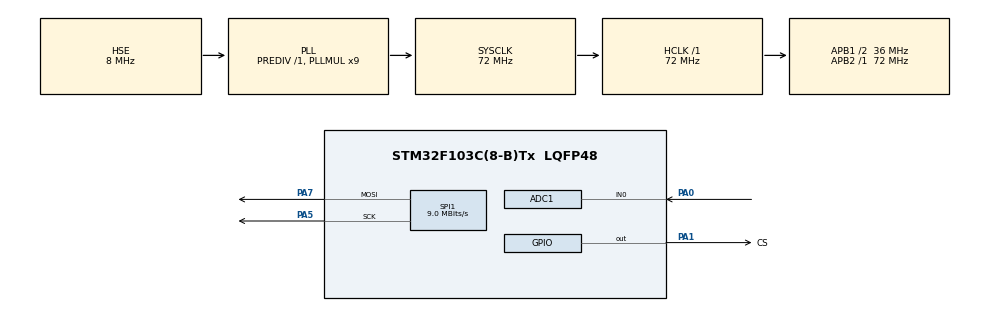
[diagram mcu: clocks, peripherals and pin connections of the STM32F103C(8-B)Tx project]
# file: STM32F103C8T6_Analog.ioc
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ADC1.Channel-1\#ChannelInjectedConversion=ADC_CHANNEL_0
ADC1.Channel-2\#ChannelInjectedConversion=ADC_CHANNEL_VREFINT
ADC1.EnableInjectedConversion=ENABLE
ADC1.EnableRegularConversion=DISABLE
ADC1.InjNumberOfConversion=2
ADC1.InjectedOffset-1\#ChannelInjectedConversion=0
ADC1.InjectedOffset-2\#ChannelInjectedConversion=0
ADC1.Rank-1\#ChannelInjectedConversion=1
ADC1.Rank-2\#ChannelInjectedConversion=2
ADC1.SamplingTime-1\#ChannelInjectedConversion=ADC_SAMPLETIME_239CYCLES_5
ADC1.SamplingTime-2\#ChannelInjectedConversion=ADC_SAMPLETIME_239CYCLES_5
ADC1.master=1
Mcu.Family=STM32F1
Mcu.Name=STM32F103C(8-B)Tx
Mcu.Package=LQFP48
NVIC.ADC1_2_IRQn=true\:0\:0\:false\:false\:true\:true\:true
NVIC.PriorityGroup=NVIC_PRIORITYGROUP_4
NVIC.SPI1_IRQn=true\:0\:0\:false\:false\:true\:true\:true
PA0-WKUP.Signal=ADCx_IN0
PA1.GPIO_Label=CS
PA1.Signal=GPIO_Output
PA13.Mode=Trace_Asynchronous_SW
PA13.Signal=SYS_JTMS-SWDIO
PA14.Mode=Trace_Asynchronous_SW
PA14.Signal=SYS_JTCK-SWCLK
PA5.Mode=TX_Only_Simplex_Unidirect_Master
PA5.Signal=SPI1_SCK
PA7.Mode=TX_Only_Simplex_Unidirect_Master
PA7.Signal=SPI1_MOSI
PB3.Mode=Trace_Asynchronous_SW
PB3.Signal=SYS_JTDO-TRACESWO
PD0-OSC_IN.Mode=HSE-External-Oscillator
PD0-OSC_IN.Signal=RCC_OSC_IN
PD1-OSC_OUT.Mode=HSE-External-Oscillator
PD1-OSC_OUT.Signal=RCC_OSC_OUT
ProjectManager.HeapSize=0x200
ProjectManager.StackSize=0x400
ProjectManager.TargetToolchain=STM32CubeIDE
RCC.ADCPresc=RCC_ADCPCLK2_DIV6
RCC.AHBFreq_Value=72000000
RCC.APB1CLKDivider=RCC_HCLK_DIV2
RCC.APB1Freq_Value=36000000
RCC.APB1TimFreq_Value=72000000
RCC.APB2Freq_Value=72000000
RCC.APB2TimFreq_Value=72000000
RCC.HCLKFreq_Value=72000000
RCC.PLLMUL=RCC_PLL_MUL9
RCC.PLLSourceVirtual=RCC_PLLSOURCE_HSE
RCC.SYSCLKFreq_VALUE=72000000
RCC.SYSCLKSource=RCC_SYSCLKSOURCE_PLLCLK
RCC.USBFreq_Value=72000000
SH.ADCx_IN0.0=ADC1_IN0,IN0
SPI1.BaudRatePrescaler=SPI_BAUDRATEPRESCALER_8
SPI1.CalculateBaudRate=9.0 MBits/s
SPI1.Direction=SPI_DIRECTION_2LINES
SPI1.Mode=SPI_MODE_MASTER
SPI1.VirtualType=VM_MASTER
VP_ADC1_Vref_Input.Mode=IN-Vrefint
board=custom

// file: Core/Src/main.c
/* USER CODE BEGIN Header */
/**
 ******************************************************************************
 * @file           : main.c
 * @brief          : Main program body
 ******************************************************************************
 * @attention
 *
 * <h2><center>&copy; Copyright (c) 2021 STMicroelectronics.
 * All rights reserved.</center></h2>
 *
 * This software component is licensed by ST under BSD 3-Clause license,
 * the "License"; You may not use this file except in compliance with the
 * License. You may obtain a copy of the License at:
 *                        opensource.org/licenses/BSD-3-Clause
 *
 ******************************************************************************
 */
/* USER CODE END Header */
#include "main.h"

/* USER CODE BEGIN Includes */

#include <stdbool.h>
#include <stdio.h>
#include "max7219_lib.h"

bool flag = 0;
uint8_t filtration_step = 0;
unsigned long T;

volatile uint32_t adcValue = 0; //Значения АЦП с ноги A0
volatile uint32_t adcValueVref = 0; //Значения АЦП с канала Vrefint
volatile bool get_value_flag = 0;

float volt = 0.0f; //Напряжение на АЦП без фильтрации
float voltage_filtre1 = 0.0f;
float filtered = 0.0f; //Напряжение на АЦП после фильтрации среднего
float filtered2 = 0.0f; //Напряжение на АЦП после фильтрации среднего

float filter[100] = { 0, };
float filter_2[10] = { 0, };
uint8_t index_buffer2 = 0;
uint8_t index_buffer = 0;

uint8_t step_filtration = 0;
float summ = 0.0f;
float summ2 = 0.0f;

/* USER CODE END Includes */

ADC_HandleTypeDef hadc1;

SPI_HandleTypeDef hspi1;

void SystemClock_Config(void);
static void MX_GPIO_Init(void);
static void MX_ADC1_Init(void);
static void MX_SPI1_Init(void);
/* USER CODE BEGIN PFP */

/*============SWO============*/
int _write(int file, uint8_t *ptr, int len) {

	for (int DataIdx = 0; DataIdx < len; DataIdx++) {
		ITM_SendChar(*ptr++);
	}
	return len;
}
/*============SWO============*/

void HAL_ADCEx_InjectedConvCpltCallback(ADC_HandleTypeDef *hadc) {

	adcValue = HAL_ADCEx_InjectedGetValue(&hadc1, ADC_INJECTED_RANK_1); // Значения АЦП с ноги A0
	adcValueVref = HAL_ADCEx_InjectedGetValue(&hadc1, ADC_INJECTED_RANK_2); // Значения АЦП с канала Vrefint

	get_value_flag = 1; // Флаг, сигнализирующий о поступлении данных с АЦП

}

/*================Медиана на 3 значения со своим буфером==============*/
float median(float newVal) {
	static float buf[3];
	static uint8_t count = 0;
	buf[count] = newVal;
	if (++count >= 3)
		count = 0;

	float a = buf[0];
	float b = buf[1];
	float c = buf[2];

	float middle;
	if ((a <= b) && (a <= c)) {
		middle = (b <= c) ? b : c;
	} else {
		if ((b <= a) && (b <= c)) {
			middle = (a <= c) ? a : c;
		} else {
			middle = (a <= b) ? a : b;
		}
	}
	return middle;
}
/*================Медиана на 3 значения со своим буфером==============*/

/* USER CODE END PFP */

int main(void)
{

  /* MCU Configuration--------------------------------------------------------*/

  /* Reset of all peripherals, Initializes the Flash interface and the Systick. */
  HAL_Init();

  /* Configure the system clock */
  SystemClock_Config();

  /* Initialize all configured peripherals */
  MX_GPIO_Init();
  MX_ADC1_Init();
  MX_SPI1_Init();
  /* USER CODE BEGIN 2 */
	HAL_Delay(100);
	max7219_Init();
	HAL_ADCEx_Calibration_Start(&hadc1);
	HAL_ADCEx_InjectedStart_IT(&hadc1);
  /* USER CODE END 2 */

  /* Infinite loop */
	while (1) {

    /* USER CODE BEGIN 3 */

		if (get_value_flag) {
			get_value_flag = 0;

			float mkVcc = 1.205f / adcValueVref; // напряжение питания МК где берется из даташита 1.2 опорное напряжение для данного МК
			volt = adcValue * mkVcc; //напряжение на входе АЦП в вольтах.
			HAL_ADCEx_InjectedStart_IT(&hadc1);

			/*================Фильтрация значений. Среднее арифметическое значение==============*/
			if (index_buffer >= 0 && filtration_step == 0) {
				filter[index_buffer] = volt;

				if (index_buffer == 99) {
					for (int i = 0; i <= 99; i++) {
						summ = summ + filter[i];
					}
					filtered = summ / 100;
					filtration_step = 1;
					summ = 0;
					index_buffer = 0;
				} else {
					index_buffer++;
				}
			}
			/*================Фильтрация значений. Среднее арифметическое значение==============*/

		}

		if (filtration_step == 1) {
			if (HAL_GetTick() - T >= 25) {
				T = HAL_GetTick();
		        /*================Фильтрация значений. Медиана на 3 значения + среднее арифметическое значение==============*/
				if (index_buffer2 >= 0) {
					filter_2[index_buffer2] = median(filtered);
					if (index_buffer2 == 9) {
						for (int i = 0; i <= 9; i++) {
							summ2 = summ2 + filter_2[i];
						}
						filtered2 = summ2 / 10;
						summ2 = 0;
						index_buffer2 = 0;
					} else {
						index_buffer2++;
					}
				}
				/*================Фильтрация значений. Медиана на 3 значения + среднее арифметическое значение==============*/

				printf("adc_filtre3 = %.3f\r\n", filtered2 - 0.002f);
				max7219_Send_float(filtered2 - 0.002f);
				filtration_step = 0;

			}

		}

	}
  /* USER CODE END 3 */
}

void SystemClock_Config(void)
{
  RCC_OscInitTypeDef RCC_OscInitStruct = {0};
  RCC_ClkInitTypeDef RCC_ClkInitStruct = {0};
  RCC_PeriphCLKInitTypeDef PeriphClkInit = {0};

  /** Initializes the RCC Oscillators according to the specified parameters
  * in the RCC_OscInitTypeDef structure.
  */
  RCC_OscInitStruct.OscillatorType = RCC_OSCILLATORTYPE_HSE;
  RCC_OscInitStruct.HSEState = RCC_HSE_ON;
  RCC_OscInitStruct.HSEPredivValue = RCC_HSE_PREDIV_DIV1;
  RCC_OscInitStruct.HSIState = RCC_HSI_ON;
  RCC_OscInitStruct.PLL.PLLState = RCC_PLL_ON;
  RCC_OscInitStruct.PLL.PLLSource = RCC_PLLSOURCE_HSE;
  RCC_OscInitStruct.PLL.PLLMUL = RCC_PLL_MUL9;
  if (HAL_RCC_OscConfig(&RCC_OscInitStruct) != HAL_OK)
  {
    Error_Handler();
  }
  /** Initializes the CPU, AHB and APB buses clocks
  */
  RCC_ClkInitStruct.ClockType = RCC_CLOCKTYPE_HCLK|RCC_CLOCKTYPE_SYSCLK
                              |RCC_CLOCKTYPE_PCLK1|RCC_CLOCKTYPE_PCLK2;
  RCC_ClkInitStruct.SYSCLKSource = RCC_SYSCLKSOURCE_PLLCLK;
  RCC_ClkInitStruct.AHBCLKDivider = RCC_SYSCLK_DIV1;
  RCC_ClkInitStruct.APB1CLKDivider = RCC_HCLK_DIV2;
  RCC_ClkInitStruct.APB2CLKDivider = RCC_HCLK_DIV1;

  if (HAL_RCC_ClockConfig(&RCC_ClkInitStruct, FLASH_LATENCY_2) != HAL_OK)
  {
    Error_Handler();
  }
  PeriphClkInit.PeriphClockSelection = RCC_PERIPHCLK_ADC;
  PeriphClkInit.AdcClockSelection = RCC_ADCPCLK2_DIV6;
  if (HAL_RCCEx_PeriphCLKConfig(&PeriphClkInit) != HAL_OK)
  {
    Error_Handler();
  }
}

static void MX_ADC1_Init(void)
{

  ADC_InjectionConfTypeDef sConfigInjected = {0};

  /** Common config
  */
  hadc1.Instance = ADC1;
  hadc1.Init.ScanConvMode = ADC_SCAN_ENABLE;
  hadc1.Init.ContinuousConvMode = DISABLE;
  hadc1.Init.DiscontinuousConvMode = DISABLE;
  hadc1.Init.ExternalTrigConv = ADC_SOFTWARE_START;
  hadc1.Init.DataAlign = ADC_DATAALIGN_RIGHT;
  hadc1.Init.NbrOfConversion = 1;
  if (HAL_ADC_Init(&hadc1) != HAL_OK)
  {
    Error_Handler();
  }
  /** Configure Injected Channel
  */
  sConfigInjected.InjectedChannel = ADC_CHANNEL_0;
  sConfigInjected.InjectedRank = ADC_INJECTED_RANK_1;
  sConfigInjected.InjectedNbrOfConversion = 2;
  sConfigInjected.InjectedSamplingTime = ADC_SAMPLETIME_239CYCLES_5;
  sConfigInjected.ExternalTrigInjecConv = ADC_INJECTED_SOFTWARE_START;
  sConfigInjected.AutoInjectedConv = DISABLE;
  sConfigInjected.InjectedDiscontinuousConvMode = DISABLE;
  sConfigInjected.InjectedOffset = 0;
  if (HAL_ADCEx_InjectedConfigChannel(&hadc1, &sConfigInjected) != HAL_OK)
  {
    Error_Handler();
  }
  /** Configure Injected Channel
  */
  sConfigInjected.InjectedChannel = ADC_CHANNEL_VREFINT;
  sConfigInjected.InjectedRank = ADC_INJECTED_RANK_2;
  if (HAL_ADCEx_InjectedConfigChannel(&hadc1, &sConfigInjected) != HAL_OK)
  {
    Error_Handler();
  }

}

static void MX_SPI1_Init(void)
{

  /* SPI1 parameter configuration*/
  hspi1.Instance = SPI1;
  hspi1.Init.Mode = SPI_MODE_MASTER;
  hspi1.Init.Direction = SPI_DIRECTION_2LINES;
  hspi1.Init.DataSize = SPI_DATASIZE_8BIT;
  hspi1.Init.CLKPolarity = SPI_POLARITY_LOW;
  hspi1.Init.CLKPhase = SPI_PHASE_1EDGE;
  hspi1.Init.NSS = SPI_NSS_SOFT;
  hspi1.Init.BaudRatePrescaler = SPI_BAUDRATEPRESCALER_8;
  hspi1.Init.FirstBit = SPI_FIRSTBIT_MSB;
  hspi1.Init.TIMode = SPI_TIMODE_DISABLE;
  hspi1.Init.CRCCalculation = SPI_CRCCALCULATION_DISABLE;
  hspi1.Init.CRCPolynomial = 10;
  if (HAL_SPI_Init(&hspi1) != HAL_OK)
  {
    Error_Handler();
  }

}

static void MX_GPIO_Init(void)
{
  GPIO_InitTypeDef GPIO_InitStruct = {0};

  /* GPIO Ports Clock Enable */
  __HAL_RCC_GPIOD_CLK_ENABLE();
  __HAL_RCC_GPIOA_CLK_ENABLE();
  __HAL_RCC_GPIOB_CLK_ENABLE();

  /*Configure GPIO pin Output Level */
  HAL_GPIO_WritePin(CS_GPIO_Port, CS_Pin, GPIO_PIN_RESET);

  /*Configure GPIO pin : CS_Pin */
  GPIO_InitStruct.Pin = CS_Pin;
  GPIO_InitStruct.Mode = GPIO_MODE_OUTPUT_PP;
  GPIO_InitStruct.Pull = GPIO_NOPULL;
  GPIO_InitStruct.Speed = GPIO_SPEED_FREQ_LOW;
  HAL_GPIO_Init(CS_GPIO_Port, &GPIO_InitStruct);

}

void Error_Handler(void)
{
	__disable_irq();
	while (1) {
	}
}

/************************ (C) COPYRIGHT STMicroelectronics *****END OF FILE****/
